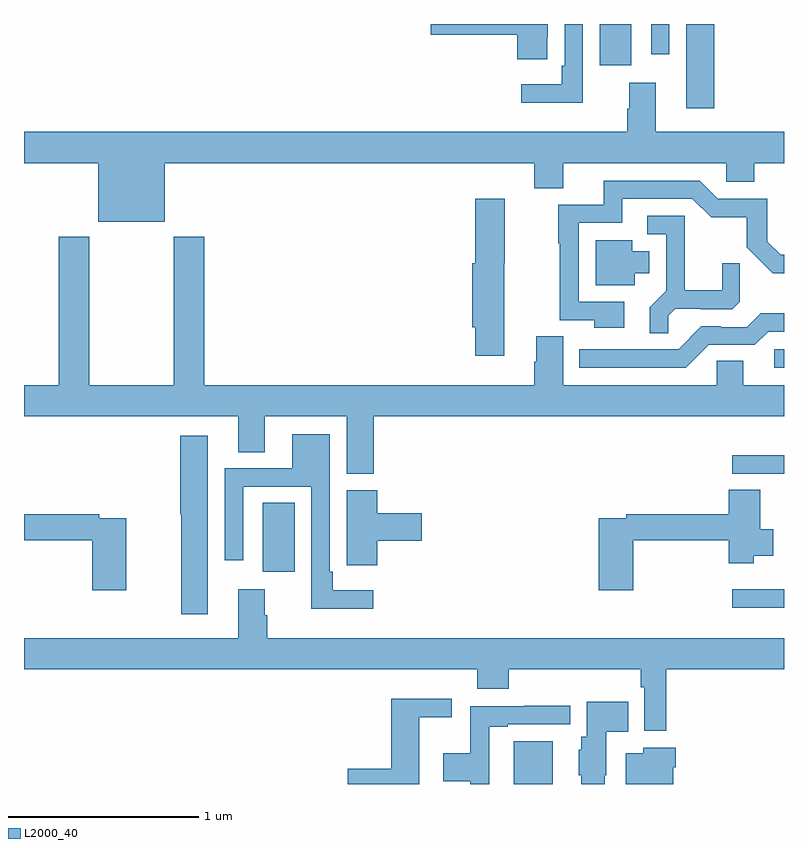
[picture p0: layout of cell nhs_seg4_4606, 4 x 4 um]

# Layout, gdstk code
import gdstk
lib = gdstk.Library(unit=1e-6, precision=1e-09)
def R(c, l, rs):  # rectangles x0, y0, x1, y1
    for r in rs: c.add(gdstk.rectangle(r[:2], r[2:], *l))
def P(c, l, *ps):  # polygons
    for p in ps: c.add(gdstk.Polygon(p, *l))
L2000_40 = (2000, 40)

nhs_seg4_4606 = lib.new_cell('nhs_seg4_4606')
R(nhs_seg4_4606, L2000_40, [(361.577,778.9,361.783,779.125), (362.727,779.828,363,779.926), (360.257,780.018,360.424,780.38), (362.727,780.534,363,780.63), (362.949,781.092,363,781.188), (362.486,782.457,362.633,782.9), (362.03,782.682,362.197,782.9), (362.301,782.742,362.397,782.9)])
P(nhs_seg4_4606, L2000_40, [(361.941,782.9),(361.845,782.9),(361.845,782.68),(361.829,782.68),(361.829,782.584),(361.617,782.584),(361.617,782.486),(361.941,782.486)],
  [(361.755,782.827),(361.756,782.827),(361.756,782.9),(361.14,782.9),(361.14,782.843),(361.595,782.843),(361.595,782.715),(361.755,782.715)],
  [(359.74,782.168),(361.685,782.168),(361.685,782.035),(361.837,782.035),(361.837,782.168),(362.697,782.168),(362.697,782.07),(362.844,782.07),(362.844,782.168),(363,782.168),(363,782.332),(362.326,782.332),(362.326,782.59),(362.186,782.59),(362.186,782.453),(362.174,782.453),(362.174,782.332),(359,782.332),(359,782.168),(359.39,782.168),(359.39,781.859),(359.74,781.859)],
  [(362.158,781.437),(361.92,781.437),(361.92,781.854),(362.149,781.854),(362.149,781.98),(362.517,781.98),(362.616,781.882),(362.805,781.882),(362.805,781.726),(362.942,781.589),(363,781.589),(363,781.686),(362.982,781.686),(362.913,781.755),(362.913,781.98),(362.652,781.98),(362.556,782.076),(362.051,782.076),(362.051,781.95),(361.812,781.95),(361.812,781.747),(361.819,781.747),(361.819,781.341),(362.002,781.341),(362.002,781.301),(362.158,781.301)],
  [(361.528,781.641),(361.53,781.641),(361.53,781.981),(361.376,781.981),(361.376,781.641),(361.358,781.641),(361.358,781.305),(361.376,781.305),(361.376,781.155),(361.528,781.155)],
  [(362.391,781.364),(362.428,781.401),(362.562,781.401),(362.562,781.398),(362.727,781.398),(362.768,781.439),(362.768,781.641),(362.674,781.641),(362.674,781.498),(362.477,781.498),(362.477,781.89),(362.28,781.89),(362.28,781.794),(362.379,781.794),(362.379,781.495),(362.293,781.409),(362.293,781.273),(362.391,781.273)],
  [(360.842,780.836),(363,780.836),(363,781),(362.785,781),(362.785,781.127),(362.646,781.127),(362.646,781),(361.837,781),(361.837,781.256),(361.697,781.256),(361.697,781.122),(361.685,781.122),(361.685,781),(359.948,781),(359.948,781.78),(359.788,781.78),(359.788,781),(359.343,781),(359.343,781.78),(359.183,781.78),(359.183,781),(359,781),(359,780.836),(360.128,780.836),(360.128,780.646),(360.268,780.646),(360.268,780.836),(360.698,780.836),(360.698,780.532),(360.842,780.532)],
  [(362.215,781.589),(362.29,781.589),(362.29,781.705),(362.2,781.705),(362.2,781.762),(362.009,781.762),(362.009,781.526),(362.215,781.526)],
  [(362.604,781.212),(362.847,781.212),(362.916,781.281),(363,781.281),(363,781.378),(362.878,781.378),(362.805,781.305),(362.666,781.305),(362.666,781.308),(362.565,781.308),(362.445,781.188),(361.922,781.188),(361.922,781.092),(362.484,781.092)],
  [(360.838,779.92),(360.625,779.92),(360.625,780.016),(360.609,780.016),(360.609,780.742),(360.413,780.742),(360.413,780.561),(360.057,780.561),(360.057,780.078),(360.153,780.078),(360.153,780.465),(360.513,780.465),(360.513,779.822),(360.838,779.822)],
  [(359.968,780.733),(359.822,780.733),(359.822,780.32),(359.827,780.32),(359.827,779.793),(359.968,779.793)],
  [(362.207,780.184),(362.708,780.184),(362.708,780.062),(362.842,780.062),(362.842,780.101),(362.944,780.101),(362.944,780.241),(362.875,780.241),(362.875,780.449),(362.708,780.449),(362.708,780.32),(362.17,780.32),(362.17,780.3),(362.024,780.3),(362.024,779.919),(362.207,779.919)],
  [(360.86,780.179),(361.093,780.179),(361.093,780.326),(360.86,780.326),(360.86,780.447),(360.698,780.447),(360.698,780.163),(360.699,780.163),(360.699,780.051),(360.86,780.051)],
  [(359.538,780.3),(359.396,780.3),(359.396,780.32),(359,780.32),(359,780.184),(359.36,780.184),(359.36,779.919),(359.538,779.919)],
  [(362.381,779.504),(363,779.504),(363,779.668),(360.281,779.668),(360.281,779.789),(360.268,779.789),(360.268,779.926),(360.128,779.926),(360.128,779.668),(359,779.668),(359,779.504),(361.385,779.504),(361.385,779.402),(361.55,779.402),(361.55,779.504),(362.245,779.504),(362.245,779.408),(362.265,779.408),(362.265,779.181),(362.381,779.181)],
  [(361.081,779.252),(361.252,779.252),(361.252,779.35),(360.932,779.35),(360.932,778.981),(360.704,778.981),(360.704,778.9),(361.081,778.9)],
  [(362.056,778.947),(362.065,778.947),(362.065,779.174),(362.18,779.174),(362.18,779.332),(361.961,779.332),(361.961,779.148),(361.934,779.148),(361.934,779.079),(361.919,779.079),(361.919,778.947),(361.934,778.947),(361.934,778.9),(362.056,778.9)],
  [(361.449,779.202),(361.546,779.202),(361.546,779.214),(361.876,779.214),(361.876,779.312),(361.633,779.312),(361.633,779.31),(361.348,779.31),(361.348,779.062),(361.206,779.062),(361.206,778.915),(361.348,778.915),(361.348,778.9),(361.449,778.9)],
  [(362.416,778.988),(362.429,778.988),(362.429,779.092),(362.258,779.092),(362.258,779.062),(362.168,779.062),(362.168,778.9),(362.416,778.9)])

lib.write_gds('nhs_seg4_4606.gds')
